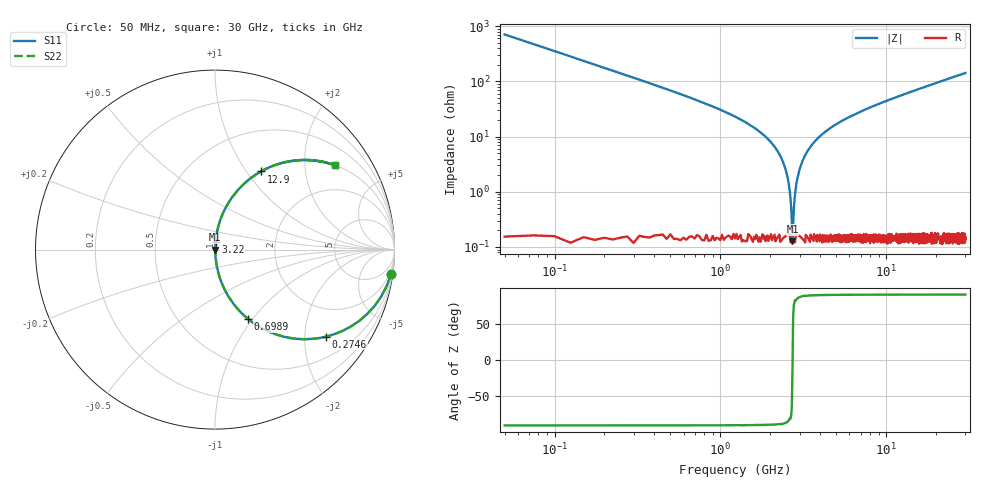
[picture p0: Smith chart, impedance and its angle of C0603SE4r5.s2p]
!	AVX Thin Film Operation 	Date: April 2014
!	Description: Accu-P® Series, Thin Film  SMD RF Capacitor
!	Part Number: 06035J4R5ABSTR
# MHZ S MA R 50
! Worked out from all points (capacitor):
!   1201 points, 50 MHz to 30 GHz, reference 50 ohm
!   read as one part in series: C = 4.5 pF near 199.8 MHz
!   lowest |Z| = 126 mohm at 2.721 GHz (marker M1)
!   series resonance near 2.723 GHz, so ESL is about 760 pH
!   S11 on the Smith chart (normalised r, x): 50 MHz: 1, -14; 274.6 MHz: 1.00, -2.55; 698.9 MHz: 1.00, -0.95; 3.22 GHz: 1.00, +0.09; 12.9 GHz: 1.00, +1.18; 30 GHz: 1.00, +2.84
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50  0.99 -8.0  0.14 81.9  0.14 81.9  0.99 -8.0
274.625  0.786 -38.1  0.617 51.8  0.617 51.8  0.786 -38.1
474.292  0.585 -54.1  0.81 35.8  0.81 35.8  0.585 -54.1
698.917  0.427 -64.6  0.903 25.3  0.903 25.3  0.427 -64.6
1198.083  0.231 -76.3  0.971 13.4  0.971 13.4  0.231 -76.3
2171.458  0.059 -85.2  0.997 3.4  0.997 3.4  0.059 -85.2
2446  0.028 -85.4  0.998 1.6  0.998 1.6  0.028 -85.4
2620.708  0.01 -81.1  0.998 0.6  0.998 0.6  0.01 -81.1
2720.542  0.001481 -10.1  0.999 0.0  0.999 0.0  0.001481 -10.1
2820.375  0.009204 80.4  0.999 -0.5  0.999 -0.5  0.009204 80.4
2945.167  0.02 84.7  0.998 -1.2  0.998 -1.2  0.02 84.7
3020.042  0.027 85.4  0.998 -1.5  0.998 -1.5  0.027 85.4
3219.708  0.044 85.6  0.998 -2.5  0.998 -2.5  0.044 85.6
3893.583  0.094 83.7  0.994 -5.4  0.994 -5.4  0.094 83.7
5041.667  0.168 79.9  0.984 -9.7  0.984 -9.7  0.168 79.9
7138.167  0.279 73.5  0.959 -16.2  0.959 -16.2  0.279 73.5
10058.29  0.406 65.9  0.913 -23.9  0.913 -23.9  0.406 65.9
12903.54  0.506 59.4  0.861 -30.4  0.861 -30.4  0.506 59.4
15025  0.569 55.2  0.821 -34.7  0.821 -34.7  0.569 55.2
20016.67  0.683 46.8  0.729 -43.1  0.729 -43.1  0.683 46.8
25033.29  0.762 40.3  0.646 -49.7  0.646 -49.7  0.762 40.3
30000  0.817 35.2  0.576 -54.8  0.576 -54.8  0.817 35.2
